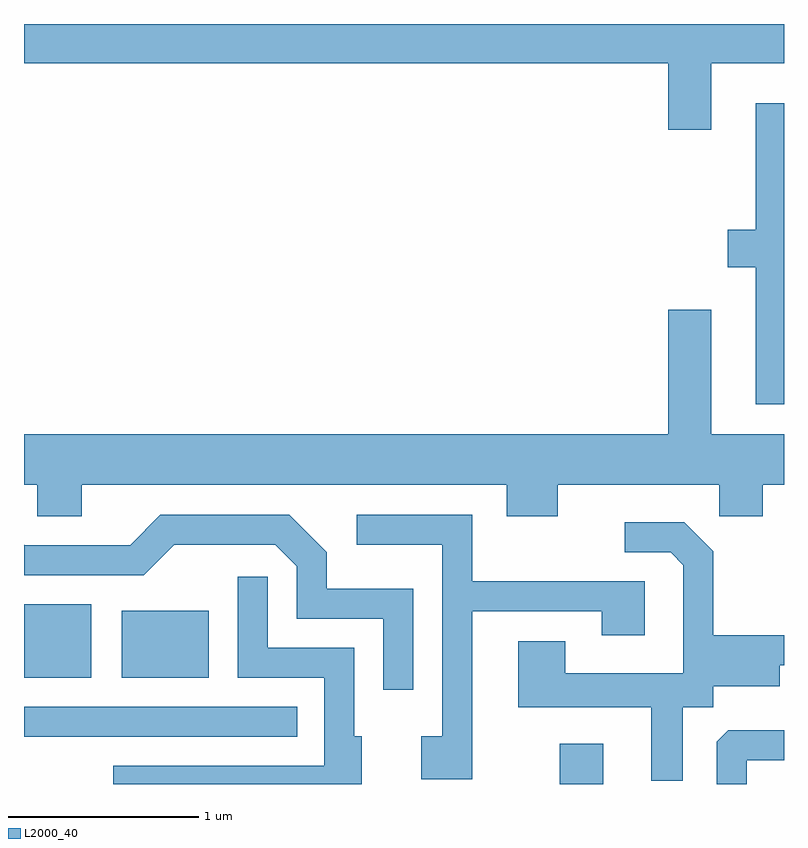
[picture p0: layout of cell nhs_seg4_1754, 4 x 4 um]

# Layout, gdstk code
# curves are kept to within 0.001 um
import gdstk
lib = gdstk.Library(unit=1e-6, precision=1e-09)
def R(c, l, rs):  # rectangles x0, y0, x1, y1
    for r in rs: c.add(gdstk.rectangle(r[:2], r[2:], *l))
def P(c, l, *ps):  # polygons
    for p in ps: c.add(gdstk.Polygon(p, *l))
L2000_40 = (2000, 40)

nhs_seg4_1754 = lib.new_cell('nhs_seg4_1754')
R(nhs_seg4_1754, L2000_40, [(238.431,1361.982,238.659,1362.194), (235.611,1362.231,237.048,1362.389), (235.611,1362.541,235.964,1362.929), (236.126,1362.541,236.584,1362.894)])
P(nhs_seg4_1754, L2000_40, [(239.229,1365.776),(239.611,1365.776),(239.611,1365.982),(235.611,1365.982),(235.611,1365.776),(239.001,1365.776),(239.001,1365.426),(239.229,1365.426)],
  [(239.611,1365.564),(239.461,1365.564),(239.461,1364.899),(239.316,1364.899),(239.316,1364.701),(239.461,1364.701),(239.461,1363.981),(239.611,1363.981)],
  [(235.914,1363.556),(238.151,1363.556),(238.151,1363.391),(238.419,1363.391),(238.419,1363.556),(239.271,1363.556),(239.271,1363.391),(239.499,1363.391),(239.499,1363.556),(239.611,1363.556),(239.611,1363.824),(239.229,1363.824),(239.229,1364.479),(239.001,1364.479),(239.001,1363.824),(235.611,1363.824),(235.611,1363.556),(235.681,1363.556),(235.681,1363.391),(235.914,1363.391)],
  [(237.659,1363.009),(237.204,1363.009),(237.204,1363.202),(237.007,1363.399),(236.329,1363.399),(236.169,1363.239),(235.611,1363.24),(235.611,1363.081),(236.242,1363.081),(236.402,1363.241),(236.934,1363.241),(237.046,1363.129),(237.046,1362.851),(237.501,1362.851),(237.501,1362.478),(237.659,1362.478)],
  [(237.969,1362.891),(238.651,1362.891),(238.651,1362.766),(238.879,1362.766),(238.879,1363.049),(237.969,1363.049),(237.969,1363.399),(237.363,1363.399),(237.363,1363.241),(237.811,1363.241),(237.811,1362.234),(237.701,1362.234),(237.701,1362.006),(237.969,1362.006)],
  [(239.079,1362.386),(239.239,1362.386),(239.239,1362.496),(239.589,1362.496),(239.589,1362.606),(239.611,1362.606),(239.611,1362.764),(239.239,1362.764),(239.239,1363.207),(239.087,1363.359),(238.773,1363.359),(238.773,1363.201),(239.014,1363.201),(239.081,1363.134),(239.081,1362.564),(238.459,1362.564),(238.459,1362.734),(238.211,1362.734),(238.211,1362.386),(238.911,1362.386),(238.911,1361.998),(239.079,1361.998)],
  [(237.389,1362.234),(237.349,1362.234),(237.349,1362.699),(236.894,1362.699),(236.894,1363.073),(236.736,1363.073),(236.736,1362.541),(237.191,1362.541),(237.191,1362.079),(236.081,1362.079),(236.081,1361.982),(237.389,1361.982)],
  [(239.414,1362.106),(239.611,1362.106),(239.611,1362.264),(239.317,1362.264),(239.256,1362.204),(239.256,1361.982),(239.414,1361.982)])

lib.write_gds('nhs_seg4_1754.gds')
